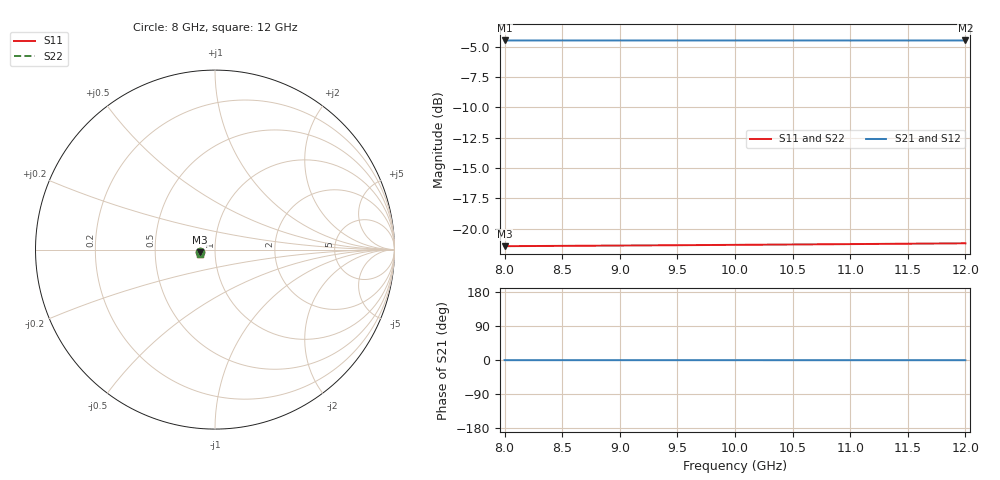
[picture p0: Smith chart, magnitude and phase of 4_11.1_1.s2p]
! Created Mon Oct 19 10:38:44 2020
# ghz S db R 50
! 2 Port Network Data from SP1.SP block
! freq  dbS11  angS11  dbS21  angS21  dbS12  angS12  dbS22  angS22
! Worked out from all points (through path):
!   9 points, 8 GHz to 12 GHz, reference 50 ohm
!   highest |S21| = -4.49 dB at 8 GHz (marker M1); lowest = -4.5 dB at 12 GHz (marker M2)
!   lowest |S11| = -21.4 dB at 8 GHz (marker M3), VSWR 1.19, Z = 42.3 - j1.29 ohm
!   |S11| at or under -10 dB: start of sweep to end of sweep
!   |S22| runs from -21.4 to -21.2 dB; largest |S21 - S12| = 6.7e-16
8  -21.43 -169.7  -4.49 -0.4  -4.49 -0.4  -21.43 -169.7
8.5  -21.41 -169.1  -4.49 -0.4  -4.49 -0.4  -21.41 -169.1
9  -21.38 -168.5  -4.49 -0.4  -4.49 -0.4  -21.38 -168.5
9.5  -21.35 -167.9  -4.49 -0.4  -4.49 -0.4  -21.35 -167.9
10  -21.32 -167.3  -4.50 -0.5  -4.50 -0.5  -21.32 -167.3
10.5  -21.29 -166.7  -4.50 -0.5  -4.50 -0.5  -21.29 -166.7
11  -21.26 -166.1  -4.50 -0.5  -4.50 -0.5  -21.26 -166.1
11.5  -21.23 -165.6  -4.50 -0.5  -4.50 -0.5  -21.23 -165.6
12  -21.19 -165.0  -4.50 -0.5  -4.50 -0.5  -21.19 -165.0
